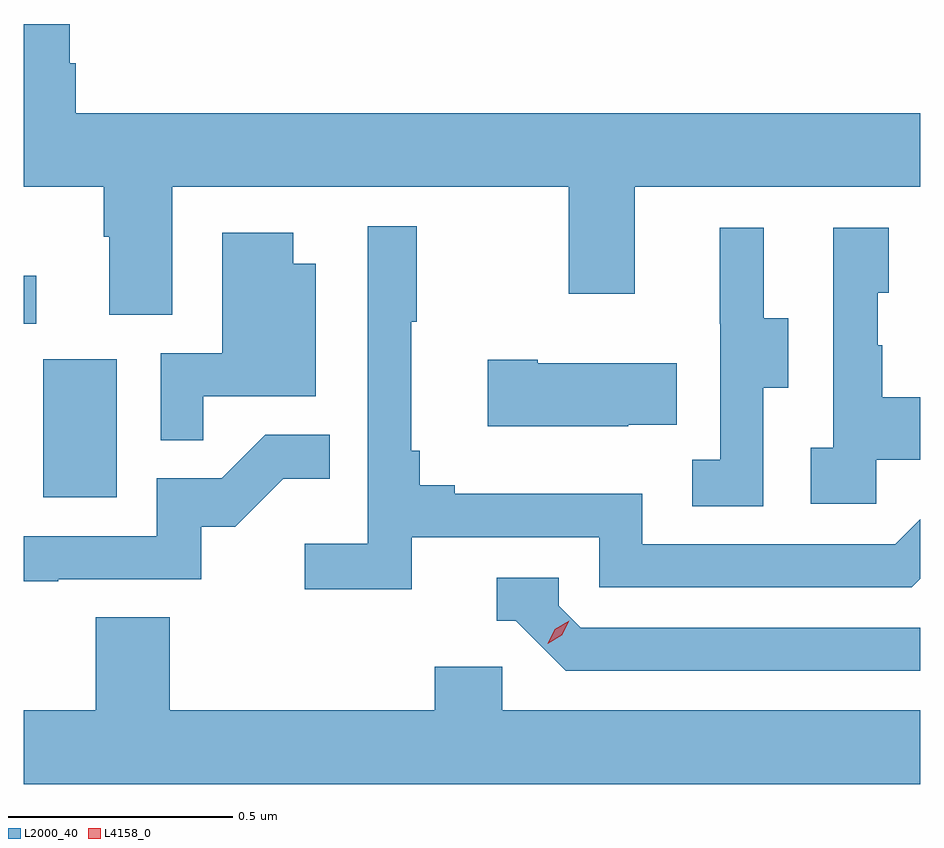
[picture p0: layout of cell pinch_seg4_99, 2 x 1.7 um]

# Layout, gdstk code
import gdstk
lib = gdstk.Library(unit=1e-6, precision=1e-09)
def R(c, l, rs):  # rectangles x0, y0, x1, y1
    for r in rs: c.add(gdstk.rectangle(r[:2], r[2:], *l))
def P(c, l, *ps):  # polygons
    for p in ps: c.add(gdstk.Polygon(p, *l))
L2000_40 = (2000, 40)
L4158_0 = (4158, 0)

pinch_seg4_99 = lib.new_cell('pinch_seg4_99')
R(pinch_seg4_99, L2000_40, [(1045.994,810.78,1046.158,811.087), (1045.95,811.167,1045.978,811.273)])
P(pinch_seg4_99, L2000_40, [(1046.281,811.472),(1047.166,811.472),(1047.166,811.233),(1047.313,811.233),(1047.313,811.472),(1047.95,811.472),(1047.95,811.636),(1046.066,811.636),(1046.066,811.748),(1046.053,811.748),(1046.053,811.835),(1045.95,811.835),(1045.95,811.472),(1046.129,811.472),(1046.129,811.36),(1046.141,811.36),(1046.141,811.186),(1046.281,811.186)],
  [(1046.816,810.69),(1047.234,810.69),(1047.234,810.579),(1047.931,810.579),(1047.95,810.598),(1047.95,810.731),(1047.894,810.675),(1047.33,810.675),(1047.33,810.787),(1046.911,810.787),(1046.911,810.806),(1046.834,810.806),(1046.834,810.883),(1046.815,810.883),(1046.815,811.171),(1046.827,811.171),(1046.827,811.384),(1046.718,811.384),(1046.718,810.676),(1046.577,810.676),(1046.577,810.574),(1046.816,810.574)],
  [(1047.852,810.863),(1047.95,810.863),(1047.95,811.003),(1047.865,811.003),(1047.865,811.118),(1047.855,811.118),(1047.855,811.236),(1047.88,811.236),(1047.88,811.381),(1047.756,811.381),(1047.756,810.89),(1047.705,810.89),(1047.705,810.765),(1047.852,810.765)],
  [(1047.6,811.024),(1047.655,811.024),(1047.655,811.179),(1047.601,811.179),(1047.601,811.381),(1047.503,811.381),(1047.503,811.167),(1047.504,811.167),(1047.504,810.863),(1047.441,810.863),(1047.441,810.76),(1047.6,810.76)],
  [(1046.351,811.005),(1046.602,811.005),(1046.602,811.3),(1046.551,811.3),(1046.551,811.369),(1046.393,811.369),(1046.393,811.101),(1046.256,811.101),(1046.256,810.907),(1046.351,810.907)],
  [(1047.299,810.941),(1047.407,810.941),(1047.407,811.078),(1047.097,811.078),(1047.097,811.086),(1046.985,811.086),(1046.985,810.938),(1047.299,810.938)],
  [(1046.027,810.597),(1046.346,810.597),(1046.346,810.714),(1046.422,810.714),(1046.529,810.821),(1046.633,810.821),(1046.633,810.919),(1046.489,810.919),(1046.392,810.822),(1046.247,810.822),(1046.247,810.693),(1045.95,810.693),(1045.95,810.592),(1046.027,810.592)],
  [(1047.95,810.489),(1047.192,810.489),(1047.144,810.537),(1047.144,810.6),(1047.005,810.6),(1047.005,810.504),(1047.048,810.504),(1047.159,810.393),(1047.95,810.393)],
  [(1047.95,810.304),(1047.018,810.304),(1047.018,810.402),(1046.867,810.402),(1046.867,810.304),(1046.276,810.304),(1046.276,810.512),(1046.111,810.512),(1046.111,810.304),(1045.95,810.304),(1045.95,810.14),(1047.95,810.14)])
P(pinch_seg4_99, L4158_0, [(1047.119,810.453),(1047.119,810.453),(1047.135,810.485),(1047.167,810.504),(1047.167,810.504),(1047.167,810.504),(1047.15,810.472),(1047.119,810.453)])

lib.write_gds('pinch_seg4_99.gds')
